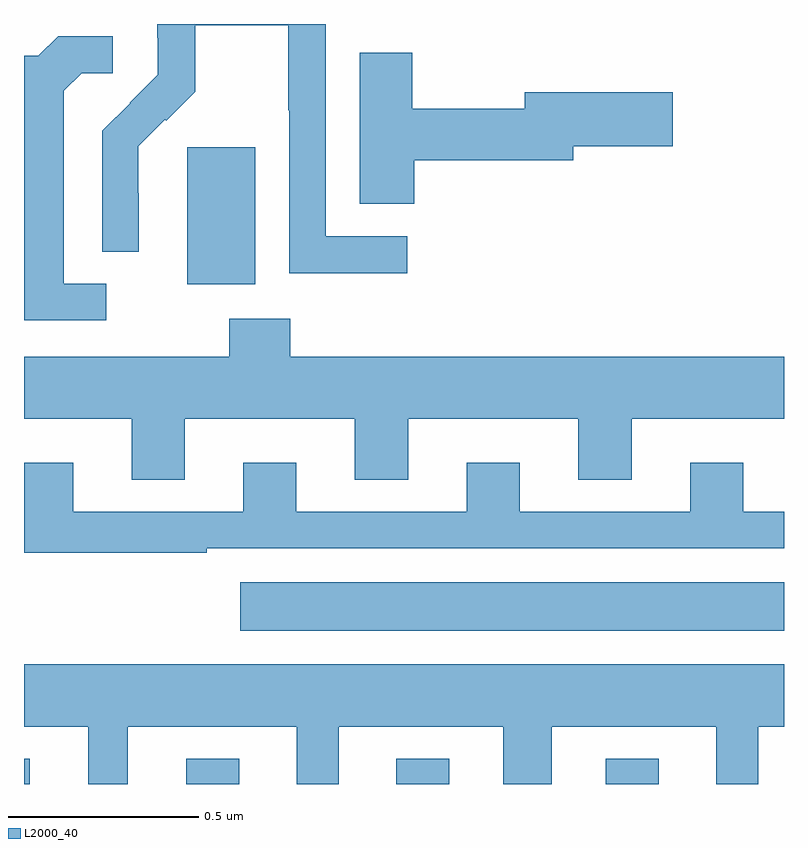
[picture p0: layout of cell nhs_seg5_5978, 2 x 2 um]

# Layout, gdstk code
import gdstk
lib = gdstk.Library(unit=1e-6, precision=1e-09)
def R(c, l, rs):  # rectangles x0, y0, x1, y1
    for r in rs: c.add(gdstk.rectangle(r[:2], r[2:], *l))
def A(c, l, x, y, w, h, nx, ny, dx, dy):  # array of equal rectangles
    R(c, l, [(x+i*dx, y+j*dy, x+i*dx+w, y+j*dy+h) for i in range(nx) for j in range(ny)])
def P(c, l, *ps):  # polygons
    for p in ps: c.add(gdstk.Polygon(p, *l))
L2000_40 = (2000, 40)

nhs_seg5_5978 = lib.new_cell('nhs_seg5_5978')
A(nhs_seg5_5978, L2000_40, 190.427, 855.799, 0.14, 0.066, 3, 1, 0.552, 0)
R(nhs_seg5_5978, L2000_40, [(190,855.799,190.015,855.865), (190.569,856.202,192,856.33), (190.43,857.114,190.609,857.475)])
P(nhs_seg5_5978, L2000_40, [(191.008,857.241),(190.794,857.241),(190.794,857.799),(190.35,857.799),(190.35,857.763),(190.352,857.763),(190.352,857.666),(190.278,857.592),(190.279,857.591),(190.206,857.518),(190.206,857.2),(190.302,857.2),(190.302,857.354),(190.301,857.354),(190.301,857.477),(190.371,857.547),(190.374,857.544),(190.451,857.621),(190.451,857.796),(190.696,857.796),(190.696,857.572),(190.698,857.572),(190.698,857.143),(191.008,857.143)],
  [(190.216,857.115),(190.105,857.115),(190.105,857.623),(190.152,857.67),(190.234,857.67),(190.234,857.767),(190.09,857.767),(190.038,857.715),(190,857.715),(190,857.6),(190.001,857.6),(190.001,857.019),(190.216,857.019)],
  [(191.027,857.44),(191.446,857.44),(191.446,857.477),(191.707,857.477),(191.707,857.619),(191.318,857.619),(191.318,857.576),(191.022,857.576),(191.022,857.723),(190.883,857.723),(190.883,857.326),(191.027,857.326)],
  [(190.423,856.76),(190.871,856.76),(190.871,856.6),(191.011,856.6),(191.011,856.76),(191.459,856.76),(191.459,856.6),(191.599,856.6),(191.599,856.76),(192,856.76),(192,856.924),(190.7,856.924),(190.7,857.023),(190.54,857.023),(190.54,856.924),(190,856.924),(190,856.76),(190.283,856.76),(190.283,856.6),(190.423,856.6)],
  [(190.481,856.419),(192,856.419),(192,856.515),(191.893,856.515),(191.893,856.645),(191.753,856.645),(191.753,856.515),(191.305,856.515),(191.305,856.645),(191.165,856.645),(191.165,856.515),(190.717,856.515),(190.717,856.645),(190.577,856.645),(190.577,856.515),(190.129,856.515),(190.129,856.645),(190,856.645),(190,856.407),(190.481,856.407)],
  [(190.273,855.95),(190.718,855.95),(190.718,855.799),(190.828,855.799),(190.828,855.95),(191.261,855.95),(191.261,855.799),(191.389,855.799),(191.389,855.95),(191.822,855.95),(191.822,855.799),(191.932,855.799),(191.932,855.95),(192,855.95),(192,856.114),(190,856.114),(190,855.95),(190.169,855.95),(190.169,855.799),(190.273,855.799)])

lib.write_gds('nhs_seg5_5978.gds')
